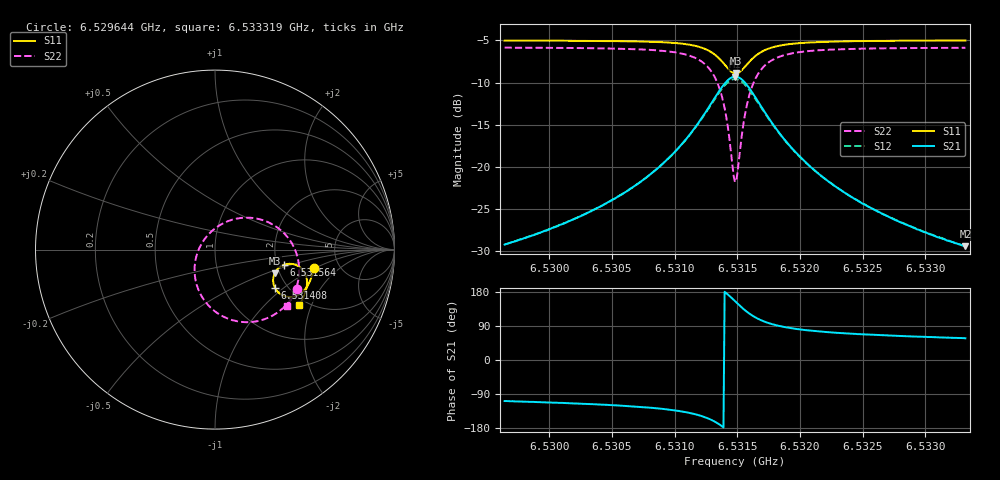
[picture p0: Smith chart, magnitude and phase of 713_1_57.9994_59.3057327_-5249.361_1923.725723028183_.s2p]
#  HZ  S  RI  R  50.00
! Rohde & Schwarz Vector Network Analyzer
! Rohde-Schwarz,ZNB20-2Port,1311601062101988,3.16
! Created: UTC 3/21/2024, 1:22:15 AM
! freq[Hz]  re:S11  im:S11  re:S21  im:S21  re:S12  im:S12  re:S22  im:S22
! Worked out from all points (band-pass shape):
!   401 points, 6.529644 GHz to 6.533319 GHz, reference 50 ohm
!   highest |S21| = -9.30 dB at 6.531482 GHz (marker M1); lowest = -29.4 dB at 6.533319 GHz (marker M2)
!   |S21| within 3 dB of the highest: 6.5313 GHz to 6.531667 GHz (367.7 kHz wide, 0.00563 % of centre)
!   lowest |S11| = -8.9 dB at 6.531491 GHz (marker M3), VSWR 2.11, Z = 94.1 - j28.6 ohm
!   |S11| at or under -10 dB: nowhere
!   |S22| runs from -21.8 to -5.9 dB; largest |S21 - S12| = 0.014
!   S11 on the Smith chart (normalised r, x): 6.529644 GHz: 3.23, -0.97; 6.531408 GHz: 1.72, -0.88; 6.531564 GHz: 2.20, -0.44; 6.533319 GHz: 1.82, -1.64
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6.5296443e9  0.5506 -0.103  -0.0109 -0.0329  -0.0116 -0.0327  0.4578 -0.2223
6.5302598e9  0.537 -0.1551  -0.0222 -0.0465  -0.0233 -0.0461  0.4211 -0.2807
6.5305997e9  0.5234 -0.1879  -0.0364 -0.0603  -0.038 -0.0594  0.384 -0.3217
6.5308753e9  0.504 -0.2192  -0.0615 -0.0784  -0.0638 -0.0766  0.3276 -0.3639
6.5310866e9  0.4736 -0.2475  -0.1066 -0.0976  -0.1096 -0.0936  0.2367 -0.3987
6.531252e9  0.4208 -0.2641  -0.1889 -0.0995  -0.1907 -0.0911  0.0878 -0.3904
6.5313439e9  0.3702 -0.2512  -0.2663 -0.0605  -0.2635 -0.0491  -0.038 -0.3094
6.5313806e9  0.3483 -0.2336  -0.2984 -0.024  -0.2919 -0.0124  -0.0841 -0.2416
6.5314082e9  0.3345 -0.2139  -0.317 0.0139  -0.3078 0.0245  -0.1074 -0.1749
6.5314633e9  0.3245 -0.1604  -0.3225 0.1103  -0.3093 0.1153  -0.0974 -0.0163
6.5314817e9  0.3289 -0.1415  -0.3114 0.1433  -0.2981 0.1459  -0.0733 0.0354
6.5314908e9  0.3324 -0.1324  -0.3035 0.1588  -0.2902 0.1603  -0.0576 0.0593
6.5315092e9  0.3425 -0.1156  -0.2834 0.187  -0.2709 0.1862  -0.0196 0.1015
6.5315643e9  0.3858 -0.084  -0.2037 0.2391  -0.1954 0.2345  0.1203 0.1724
6.5315919e9  0.4089 -0.0793  -0.163 0.2466  -0.1568 0.2418  0.1891 0.1778
6.5316286e9  0.4363 -0.0811  -0.1156 0.2433  -0.1116 0.239  0.2678 0.1636
6.5317205e9  0.4811 -0.105  -0.0394 0.2064  -0.0378 0.2041  0.3905 0.0855
6.5318583e9  0.5065 -0.1448  0.0048 0.1509  0.00611 0.1499  0.455 -0.0251
6.5320972e9  0.5124 -0.1923  0.022 0.0957  0.0232 0.0954  0.4682 -0.1372
6.5323912e9  0.5056 -0.2301  0.0235 0.0635  0.0245 0.0633  0.4542 -0.2093
6.5327127e9  0.4941 -0.261  0.0217 0.0455  0.0225 0.0452  0.4348 -0.2567
6.533319e9  0.4694 -0.3081  0.0184 0.0285  0.0188 0.0283  0.3994 -0.3141
